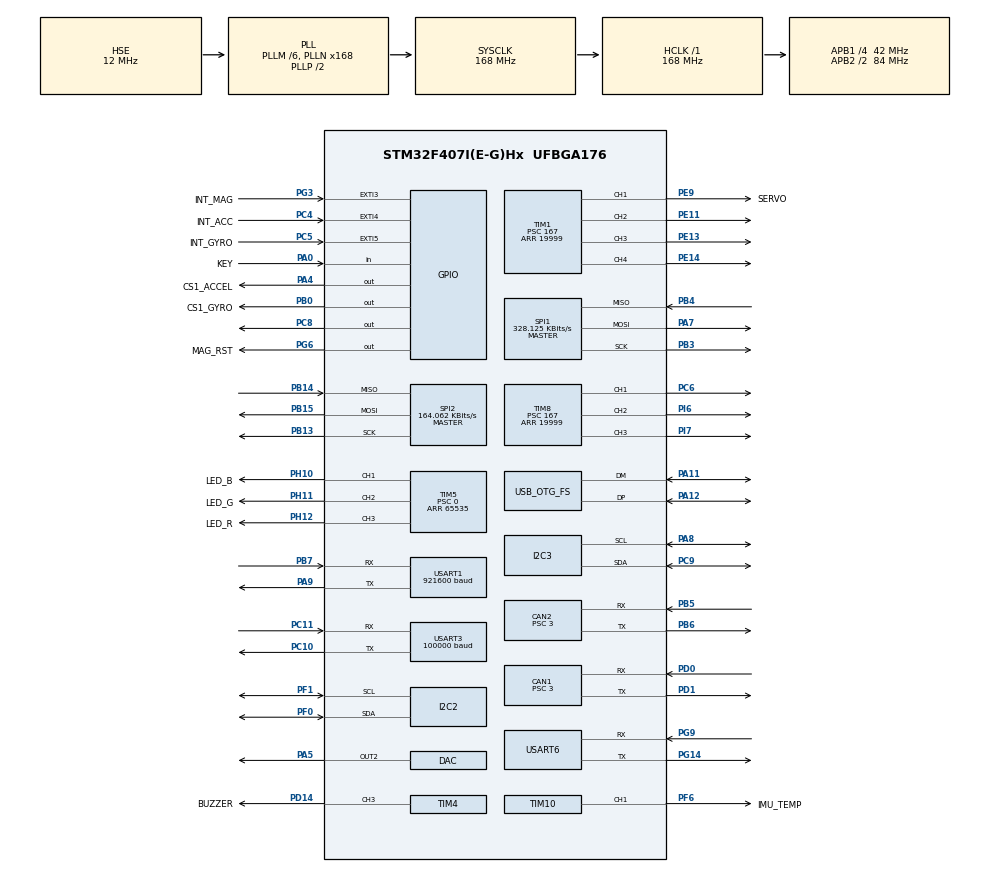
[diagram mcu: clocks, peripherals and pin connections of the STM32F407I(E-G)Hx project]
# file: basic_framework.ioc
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ADC1.Channel-0\#ChannelRegularConversion=ADC_CHANNEL_TEMPSENSOR
ADC1.ClockPrescaler=ADC_CLOCK_SYNC_PCLK_DIV6
ADC1.NbrOfConversionFlag=1
ADC1.Rank-0\#ChannelRegularConversion=1
ADC1.SamplingTime-0\#ChannelRegularConversion=ADC_SAMPLETIME_3CYCLES
ADC1.master=1
CAN1.BS1=CAN_BS1_10TQ
CAN1.BS2=CAN_BS2_3TQ
CAN1.CalculateBaudRate=1000000
CAN1.CalculateTimeQuantum=71.42857142857143
CAN1.NART=ENABLE
CAN1.Prescaler=3
CAN1.TXFP=ENABLE
CAN2.BS1=CAN_BS1_10TQ
CAN2.BS2=CAN_BS2_3TQ
CAN2.CalculateBaudRate=1000000
CAN2.CalculateTimeQuantum=71.42857142857143
CAN2.NART=ENABLE
CAN2.Prescaler=3
CAN2.TXFP=ENABLE
Dma.ADC1.8.Direction=DMA_PERIPH_TO_MEMORY
Dma.ADC1.8.FIFOMode=DMA_FIFOMODE_DISABLE
Dma.ADC1.8.Instance=DMA2_Stream4
Dma.ADC1.8.MemDataAlignment=DMA_MDATAALIGN_HALFWORD
Dma.ADC1.8.MemInc=DMA_MINC_ENABLE
Dma.ADC1.8.Mode=DMA_NORMAL
Dma.ADC1.8.PeriphDataAlignment=DMA_PDATAALIGN_HALFWORD
Dma.ADC1.8.PeriphInc=DMA_PINC_DISABLE
Dma.ADC1.8.Priority=DMA_PRIORITY_LOW
Dma.I2C2_RX.9.Direction=DMA_PERIPH_TO_MEMORY
Dma.I2C2_RX.9.FIFOMode=DMA_FIFOMODE_DISABLE
Dma.I2C2_RX.9.Instance=DMA1_Stream2
Dma.I2C2_RX.9.MemDataAlignment=DMA_MDATAALIGN_BYTE
Dma.I2C2_RX.9.MemInc=DMA_MINC_ENABLE
Dma.I2C2_RX.9.Mode=DMA_NORMAL
Dma.I2C2_RX.9.PeriphDataAlignment=DMA_PDATAALIGN_BYTE
Dma.I2C2_RX.9.PeriphInc=DMA_PINC_DISABLE
Dma.I2C2_RX.9.Priority=DMA_PRIORITY_LOW
Dma.I2C2_TX.10.Direction=DMA_MEMORY_TO_PERIPH
Dma.I2C2_TX.10.FIFOMode=DMA_FIFOMODE_DISABLE
Dma.I2C2_TX.10.Instance=DMA1_Stream7
Dma.I2C2_TX.10.MemDataAlignment=DMA_MDATAALIGN_BYTE
Dma.I2C2_TX.10.MemInc=DMA_MINC_ENABLE
Dma.I2C2_TX.10.Mode=DMA_NORMAL
Dma.I2C2_TX.10.PeriphDataAlignment=DMA_PDATAALIGN_BYTE
Dma.I2C2_TX.10.PeriphInc=DMA_PINC_DISABLE
Dma.I2C2_TX.10.Priority=DMA_PRIORITY_LOW
Dma.Request0=USART6_RX
Dma.Request1=USART6_TX
Dma.Request10=I2C2_TX
Dma.Request11=SPI1_TX
Dma.Request2=USART1_TX
Dma.Request3=USART1_RX
Dma.Request4=SPI1_RX
Dma.Request5=SPI2_RX
Dma.Request6=SPI2_TX
Dma.Request7=USART3_RX
Dma.Request8=ADC1
Dma.Request9=I2C2_RX
Dma.SPI1_RX.4.Direction=DMA_PERIPH_TO_MEMORY
Dma.SPI1_RX.4.FIFOMode=DMA_FIFOMODE_ENABLE
Dma.SPI1_RX.4.FIFOThreshold=DMA_FIFO_THRESHOLD_FULL
Dma.SPI1_RX.4.Instance=DMA2_Stream0
Dma.SPI1_RX.4.MemBurst=DMA_MBURST_SINGLE
Dma.SPI1_RX.4.MemDataAlignment=DMA_MDATAALIGN_BYTE
Dma.SPI1_RX.4.MemInc=DMA_MINC_ENABLE
Dma.SPI1_RX.4.Mode=DMA_NORMAL
Dma.SPI1_RX.4.PeriphBurst=DMA_PBURST_SINGLE
Dma.SPI1_RX.4.PeriphDataAlignment=DMA_PDATAALIGN_BYTE
Dma.SPI1_RX.4.PeriphInc=DMA_PINC_DISABLE
Dma.SPI1_RX.4.Priority=DMA_PRIORITY_LOW
Dma.SPI1_TX.11.Direction=DMA_MEMORY_TO_PERIPH
Dma.SPI1_TX.11.FIFOMode=DMA_FIFOMODE_DISABLE
Dma.SPI1_TX.11.Instance=DMA2_Stream3
Dma.SPI1_TX.11.MemDataAlignment=DMA_MDATAALIGN_BYTE
Dma.SPI1_TX.11.MemInc=DMA_MINC_ENABLE
Dma.SPI1_TX.11.Mode=DMA_NORMAL
Dma.SPI1_TX.11.PeriphDataAlignment=DMA_PDATAALIGN_BYTE
Dma.SPI1_TX.11.PeriphInc=DMA_PINC_DISABLE
Dma.SPI1_TX.11.Priority=DMA_PRIORITY_LOW
Dma.SPI2_RX.5.Direction=DMA_PERIPH_TO_MEMORY
Dma.SPI2_RX.5.FIFOMode=DMA_FIFOMODE_ENABLE
Dma.SPI2_RX.5.FIFOThreshold=DMA_FIFO_THRESHOLD_FULL
Dma.SPI2_RX.5.Instance=DMA1_Stream3
Dma.SPI2_RX.5.MemBurst=DMA_MBURST_SINGLE
Dma.SPI2_RX.5.MemDataAlignment=DMA_MDATAALIGN_BYTE
Dma.SPI2_RX.5.MemInc=DMA_MINC_ENABLE
Dma.SPI2_RX.5.Mode=DMA_NORMAL
Dma.SPI2_RX.5.PeriphBurst=DMA_PBURST_SINGLE
Dma.SPI2_RX.5.PeriphDataAlignment=DMA_PDATAALIGN_BYTE
Dma.SPI2_RX.5.PeriphInc=DMA_PINC_DISABLE
Dma.SPI2_RX.5.Priority=DMA_PRIORITY_LOW
Dma.SPI2_TX.6.Direction=DMA_MEMORY_TO_PERIPH
Dma.SPI2_TX.6.FIFOMode=DMA_FIFOMODE_ENABLE
Dma.SPI2_TX.6.FIFOThreshold=DMA_FIFO_THRESHOLD_FULL
Dma.SPI2_TX.6.Instance=DMA1_Stream4
Dma.SPI2_TX.6.MemBurst=DMA_MBURST_SINGLE
Dma.SPI2_TX.6.MemDataAlignment=DMA_MDATAALIGN_BYTE
Dma.SPI2_TX.6.MemInc=DMA_MINC_ENABLE
Dma.SPI2_TX.6.Mode=DMA_NORMAL
Dma.SPI2_TX.6.PeriphBurst=DMA_PBURST_SINGLE
Dma.SPI2_TX.6.PeriphDataAlignment=DMA_PDATAALIGN_BYTE
Dma.SPI2_TX.6.PeriphInc=DMA_PINC_DISABLE
Dma.SPI2_TX.6.Priority=DMA_PRIORITY_LOW
Dma.USART1_RX.3.Direction=DMA_PERIPH_TO_MEMORY
Dma.USART1_RX.3.FIFOMode=DMA_FIFOMODE_DISABLE
Dma.USART1_RX.3.Instance=DMA2_Stream5
Dma.USART1_RX.3.MemDataAlignment=DMA_MDATAALIGN_BYTE
Dma.USART1_RX.3.MemInc=DMA_MINC_ENABLE
Dma.USART1_RX.3.Mode=DMA_NORMAL
Dma.USART1_RX.3.PeriphDataAlignment=DMA_PDATAALIGN_BYTE
Dma.USART1_RX.3.PeriphInc=DMA_PINC_DISABLE
Dma.USART1_RX.3.Priority=DMA_PRIORITY_VERY_HIGH
Dma.USART1_TX.2.Direction=DMA_MEMORY_TO_PERIPH
Dma.USART1_TX.2.FIFOMode=DMA_FIFOMODE_DISABLE
Dma.USART1_TX.2.Instance=DMA2_Stream7
Dma.USART1_TX.2.MemDataAlignment=DMA_MDATAALIGN_BYTE
Dma.USART1_TX.2.MemInc=DMA_MINC_ENABLE
Dma.USART1_TX.2.Mode=DMA_NORMAL
Dma.USART1_TX.2.PeriphDataAlignment=DMA_PDATAALIGN_BYTE
Dma.USART1_TX.2.PeriphInc=DMA_PINC_DISABLE
Dma.USART1_TX.2.Priority=DMA_PRIORITY_VERY_HIGH
Dma.USART3_RX.7.Direction=DMA_PERIPH_TO_MEMORY
Dma.USART3_RX.7.FIFOMode=DMA_FIFOMODE_DISABLE
Dma.USART3_RX.7.Instance=DMA1_Stream1
Dma.USART3_RX.7.MemDataAlignment=DMA_MDATAALIGN_BYTE
Dma.USART3_RX.7.MemInc=DMA_MINC_ENABLE
Dma.USART3_RX.7.Mode=DMA_NORMAL
Dma.USART3_RX.7.PeriphDataAlignment=DMA_PDATAALIGN_BYTE
Dma.USART3_RX.7.PeriphInc=DMA_PINC_DISABLE
Dma.USART3_RX.7.Priority=DMA_PRIORITY_LOW
Dma.USART6_RX.0.Direction=DMA_PERIPH_TO_MEMORY
Dma.USART6_RX.0.FIFOMode=DMA_FIFOMODE_ENABLE
Dma.USART6_RX.0.FIFOThreshold=DMA_FIFO_THRESHOLD_FULL
Dma.USART6_RX.0.Instance=DMA2_Stream2
Dma.USART6_RX.0.MemBurst=DMA_MBURST_SINGLE
Dma.USART6_RX.0.MemDataAlignment=DMA_MDATAALIGN_BYTE
Dma.USART6_RX.0.MemInc=DMA_MINC_ENABLE
Dma.USART6_RX.0.Mode=DMA_NORMAL
Dma.USART6_RX.0.PeriphBurst=DMA_PBURST_SINGLE
Dma.USART6_RX.0.PeriphDataAlignment=DMA_PDATAALIGN_BYTE
Dma.USART6_RX.0.PeriphInc=DMA_PINC_DISABLE
Dma.USART6_RX.0.Priority=DMA_PRIORITY_HIGH
Dma.USART6_TX.1.Direction=DMA_MEMORY_TO_PERIPH
Dma.USART6_TX.1.FIFOMode=DMA_FIFOMODE_ENABLE
Dma.USART6_TX.1.FIFOThreshold=DMA_FIFO_THRESHOLD_FULL
Dma.USART6_TX.1.Instance=DMA2_Stream6
Dma.USART6_TX.1.MemBurst=DMA_MBURST_SINGLE
Dma.USART6_TX.1.MemDataAlignment=DMA_MDATAALIGN_BYTE
Dma.USART6_TX.1.MemInc=DMA_MINC_ENABLE
Dma.USART6_TX.1.Mode=DMA_NORMAL
Dma.USART6_TX.1.PeriphBurst=DMA_PBURST_SINGLE
Dma.USART6_TX.1.PeriphDataAlignment=DMA_PDATAALIGN_BYTE
Dma.USART6_TX.1.PeriphInc=DMA_PINC_DISABLE
Dma.USART6_TX.1.Priority=DMA_PRIORITY_HIGH
FREERTOS.INCLUDE_vTaskDelayUntil=1
FREERTOS.Tasks01=defaultTask,0,128,StartDefaultTask,Default,NULL,Dynamic,NULL,NULL
FREERTOS.configENABLE_FPU=1
FREERTOS.configMAX_TASK_NAME_LEN=32
FREERTOS.configUSE_POSIX_ERRNO=0
FREERTOS.configUSE_TIMERS=0
I2C2.I2C_Mode=I2C_Fast
I2C3.I2C_Mode=I2C_Fast
Mcu.Family=STM32F4
Mcu.Name=STM32F407I(E-G)Hx
Mcu.Package=UFBGA176
NVIC.CAN1_RX0_IRQn=true\:5\:0\:true\:false\:true\:true\:true\:true\:true
NVIC.CAN1_RX1_IRQn=true\:5\:0\:false\:false\:true\:true\:true\:true\:true
NVIC.CAN2_RX0_IRQn=true\:5\:0\:true\:false\:true\:true\:true\:true\:true
NVIC.CAN2_RX1_IRQn=true\:5\:0\:false\:false\:true\:true\:true\:true\:true
NVIC.DMA1_Stream1_IRQn=true\:5\:0\:false\:false\:true\:true\:false\:true\:true
NVIC.DMA1_Stream2_IRQn=true\:5\:0\:false\:false\:true\:true\:false\:true\:true
NVIC.DMA1_Stream3_IRQn=true\:5\:0\:false\:false\:true\:true\:false\:true\:true
NVIC.DMA1_Stream4_IRQn=true\:5\:0\:false\:false\:true\:true\:false\:true\:true
NVIC.DMA1_Stream7_IRQn=true\:5\:0\:false\:false\:true\:true\:false\:true\:true
NVIC.DMA2_Stream0_IRQn=true\:5\:0\:false\:false\:true\:true\:false\:true\:true
NVIC.DMA2_Stream2_IRQn=true\:5\:0\:false\:false\:true\:true\:false\:true\:true
NVIC.DMA2_Stream3_IRQn=true\:5\:0\:false\:false\:true\:true\:false\:true\:true
NVIC.DMA2_Stream4_IRQn=true\:5\:0\:false\:false\:true\:true\:false\:true\:true
NVIC.DMA2_Stream5_IRQn=true\:5\:0\:false\:false\:true\:true\:false\:true\:true
NVIC.DMA2_Stream6_IRQn=true\:5\:0\:true\:false\:true\:true\:false\:true\:true
NVIC.DMA2_Stream7_IRQn=true\:5\:0\:true\:false\:true\:true\:false\:true\:true
NVIC.EXTI3_IRQn=true\:5\:0\:true\:false\:true\:true\:true\:true\:true
NVIC.EXTI4_IRQn=true\:5\:0\:false\:false\:true\:true\:true\:true\:true
NVIC.EXTI9_5_IRQn=true\:5\:0\:false\:false\:true\:true\:true\:true\:true
NVIC.I2C2_ER_IRQn=true\:5\:0\:false\:false\:true\:true\:true\:true\:true
NVIC.I2C2_EV_IRQn=true\:5\:0\:false\:false\:true\:true\:true\:true\:true
NVIC.I2C3_ER_IRQn=true\:5\:0\:false\:false\:true\:true\:true\:true\:true
NVIC.I2C3_EV_IRQn=true\:5\:0\:false\:false\:true\:true\:true\:true\:true
NVIC.OTG_FS_IRQn=true\:5\:0\:false\:false\:true\:true\:false\:true\:true
NVIC.PriorityGroup=NVIC_PRIORITYGROUP_4
NVIC.SPI1_IRQn=true\:5\:0\:false\:false\:true\:true\:true\:true\:true
NVIC.SPI2_IRQn=true\:5\:0\:false\:false\:true\:true\:true\:true\:true
NVIC.TIM8_TRG_COM_TIM14_IRQn=true\:15\:0\:false\:false\:true\:false\:false\:true\:true
NVIC.TimeBase=TIM8_TRG_COM_TIM14_IRQn
NVIC.TimeBaseIP=TIM14
NVIC.USART1_IRQn=true\:5\:0\:false\:false\:true\:true\:true\:true\:true
NVIC.USART3_IRQn=true\:5\:0\:false\:false\:true\:true\:true\:true\:true
NVIC.USART6_IRQn=true\:5\:0\:false\:false\:true\:true\:true\:true\:true
PA0-WKUP.GPIO_Label=KEY
PA0-WKUP.GPIO_PuPd=GPIO_PULLUP
PA0-WKUP.Signal=GPIO_Input
PA10.Signal=USB_OTG_FS_ID
PA11.Mode=Device_Only
PA11.Signal=USB_OTG_FS_DM
PA12.Mode=Device_Only
PA12.Signal=USB_OTG_FS_DP
PA13.Mode=Serial_Wire
PA13.Signal=SYS_JTMS-SWDIO
PA14.Mode=Serial_Wire
PA14.Signal=SYS_JTCK-SWCLK
PA4.GPIO_Label=CS1_ACCEL
PA4.GPIO_PuPd=GPIO_PULLUP
PA4.GPIO_Speed=GPIO_SPEED_FREQ_HIGH
PA4.PinState=GPIO_PIN_SET
PA4.Signal=GPIO_Output
PA5.Signal=COMP_DAC2_group
PA7.GPIO_PuPd=GPIO_PULLUP
PA7.Mode=Full_Duplex_Master
PA7.Signal=SPI1_MOSI
PA8.Mode=I2C
PA8.Signal=I2C3_SCL
PA9.Mode=Asynchronous
PA9.Signal=USART1_TX
PB0.GPIO_Label=CS1_GYRO
PB0.GPIO_PuPd=GPIO_PULLUP
PB0.GPIO_Speed=GPIO_SPEED_FREQ_HIGH
PB0.PinState=GPIO_PIN_SET
PB0.Signal=GPIO_Output
PB13.Mode=Full_Duplex_Master
PB13.Signal=SPI2_SCK
PB14.Mode=Full_Duplex_Master
PB14.Signal=SPI2_MISO
PB15.Mode=Full_Duplex_Master
PB15.Signal=SPI2_MOSI
PB3.GPIO_PuPd=GPIO_PULLUP
PB3.Mode=Full_Duplex_Master
PB3.Signal=SPI1_SCK
PB4.GPIO_PuPd=GPIO_PULLUP
PB4.Mode=Full_Duplex_Master
PB4.Signal=SPI1_MISO
PB5.Mode=CAN_Activate
PB5.Signal=CAN2_RX
PB6.Mode=CAN_Activate
PB6.Signal=CAN2_TX
PB7.Mode=Asynchronous
PB7.Signal=USART1_RX
PC10.Mode=Asynchronous
PC10.Signal=USART3_TX
PC11.Mode=Asynchronous
PC11.Signal=USART3_RX
PC4.GPIO_Label=INT_ACC
PC4.GPIO_ModeDefaultEXTI=GPIO_MODE_IT_FALLING
PC4.Signal=GPXTI4
PC5.GPIO_Label=INT_GYRO
PC5.GPIO_ModeDefaultEXTI=GPIO_MODE_IT_FALLING
PC5.Signal=GPXTI5
PC6.Signal=S_TIM8_CH1
PC8.Signal=GPIO_Output
PC9.Mode=I2C
PC9.Signal=I2C3_SDA
PD0.Mode=CAN_Activate
PD0.Signal=CAN1_RX
PD1.Mode=CAN_Activate
PD1.Signal=CAN1_TX
PD14.GPIO_Label=BUZZER
PD14.GPIO_PuPd=GPIO_PULLUP
PD14.GPIO_Speed=GPIO_SPEED_FREQ_VERY_HIGH
PD14.Signal=S_TIM4_CH3
PE11.Signal=S_TIM1_CH2
PE13.Signal=S_TIM1_CH3
PE14.Signal=S_TIM1_CH4
PE9.GPIO_Label=SERVO
PE9.Signal=S_TIM1_CH1
PF0.Mode=I2C
PF0.Signal=I2C2_SDA
PF1.Mode=I2C
PF1.Signal=I2C2_SCL
PF6.GPIO_Label=IMU_TEMP
PF6.GPIO_PuPd=GPIO_PULLUP
PF6.GPIO_Speed=GPIO_SPEED_FREQ_HIGH
PF6.Signal=S_TIM10_CH1
PG14.Mode=Asynchronous
PG14.Signal=USART6_TX
PG3.GPIO_Label=INT_MAG
PG3.GPIO_ModeDefaultEXTI=GPIO_MODE_IT_FALLING
PG3.GPIO_PuPd=GPIO_PULLUP
PG3.Signal=GPXTI3
PG6.GPIO_Label=MAG_RST
PG6.Signal=GPIO_Output
PG9.Mode=Asynchronous
PG9.Signal=USART6_RX
PH0-OSC_IN.Mode=HSE-External-Oscillator
PH0-OSC_IN.Signal=RCC_OSC_IN
PH1-OSC_OUT.Mode=HSE-External-Oscillator
PH1-OSC_OUT.Signal=RCC_OSC_OUT
PH10.GPIO_Label=LED_B
PH10.GPIO_PuPd=GPIO_PULLUP
PH10.GPIO_Speed=GPIO_SPEED_FREQ_HIGH
PH10.Signal=S_TIM5_CH1
PH11.GPIO_Label=LED_G
PH11.GPIO_PuPd=GPIO_PULLUP
PH11.GPIO_Speed=GPIO_SPEED_FREQ_HIGH
PH11.Signal=S_TIM5_CH2
PH12.GPIO_Label=LED_R
PH12.GPIO_PuPd=GPIO_PULLUP
PH12.GPIO_Speed=GPIO_SPEED_FREQ_HIGH
PH12.Signal=S_TIM5_CH3
PI6.Signal=S_TIM8_CH2
PI7.Signal=S_TIM8_CH3
ProjectManager.HeapSize=0x4000
ProjectManager.StackSize=0x4000
ProjectManager.TargetToolchain=Makefile
RCC.48MHZClocksFreq_Value=48000000
RCC.AHBFreq_Value=168000000
RCC.APB1CLKDivider=RCC_HCLK_DIV4
RCC.APB1Freq_Value=42000000
RCC.APB1TimFreq_Value=84000000
RCC.APB2CLKDivider=RCC_HCLK_DIV2
RCC.APB2Freq_Value=84000000
RCC.APB2TimFreq_Value=168000000
RCC.CortexFreq_Value=168000000
RCC.HCLKFreq_Value=168000000
RCC.HSE_VALUE=12000000
RCC.HSI_VALUE=16000000
RCC.LSE_VALUE=32768
RCC.PLLM=6
RCC.PLLN=168
RCC.PLLQ=7
RCC.RCC_RTC_Clock_SourceVirtual=RCC_RTCCLKSOURCE_HSE_DIV30
RCC.RCC_RTC_Clock_Source_FROM_HSE=RCC_RTCCLKSOURCE_HSE_DIV30
RCC.SYSCLKFreq_VALUE=168000000
RCC.SYSCLKSource=RCC_SYSCLKSOURCE_PLLCLK
RCC.VCOOutputFreq_Value=336000000
RTC.AsynchPrediv=124
RTC.SynchPrediv=3199
SH.COMP_DAC2_group.0=DAC_OUT2,DAC_OUT2
SH.S_TIM10_CH1.0=TIM10_CH1,PWM Generation1 CH1
SH.S_TIM1_CH1.0=TIM1_CH1,PWM Generation1 CH1
SH.S_TIM1_CH2.0=TIM1_CH2,PWM Generation2 CH2
SH.S_TIM1_CH3.0=TIM1_CH3,PWM Generation3 CH3
SH.S_TIM1_CH4.0=TIM1_CH4,PWM Generation4 CH4
SH.S_TIM4_CH3.0=TIM4_CH3,PWM Generation3 CH3
SH.S_TIM5_CH1.0=TIM5_CH1,PWM Generation1 CH1
SH.S_TIM5_CH2.0=TIM5_CH2,PWM Generation2 CH2
SH.S_TIM5_CH3.0=TIM5_CH3,PWM Generation3 CH3
SH.S_TIM8_CH1.0=TIM8_CH1,Output Compare1 CH1
SH.S_TIM8_CH2.0=TIM8_CH2,Output Compare2 CH2
SH.S_TIM8_CH3.0=TIM8_CH3,Output Compare3 CH3
SPI1.BaudRatePrescaler=SPI_BAUDRATEPRESCALER_256
SPI1.CLKPhase=SPI_PHASE_2EDGE
SPI1.CLKPolarity=SPI_POLARITY_HIGH
SPI1.CalculateBaudRate=328.125 KBits/s
SPI1.Direction=SPI_DIRECTION_2LINES
SPI1.Mode=SPI_MODE_MASTER
SPI1.VirtualType=VM_MASTER
SPI2.BaudRatePrescaler=SPI_BAUDRATEPRESCALER_256
SPI2.CLKPhase=SPI_PHASE_2EDGE
SPI2.CLKPolarity=SPI_POLARITY_HIGH
SPI2.CalculateBaudRate=164.062 KBits/s
SPI2.Direction=SPI_DIRECTION_2LINES
SPI2.Mode=SPI_MODE_MASTER
SPI2.VirtualType=VM_MASTER
STMicroelectronics.X-CUBE-ALGOBUILD.1.3.0.LibraryCcDSPOoLibraryJjDSPOoLibrary=true
TIM1.Channel-PWM\ Generation1\ CH1=TIM_CHANNEL_1
TIM1.Channel-PWM\ Generation2\ CH2=TIM_CHANNEL_2
TIM1.Channel-PWM\ Generation3\ CH3=TIM_CHANNEL_3
TIM1.Channel-PWM\ Generation4\ CH4=TIM_CHANNEL_4
TIM1.Period=19999
TIM1.Prescaler=167
TIM10.Channel=TIM_CHANNEL_1
TIM10.Period=5000-1
TIM10.Prescaler=167
TIM4.Channel-PWM\ Generation3\ CH3=TIM_CHANNEL_3
TIM4.Period=65535
TIM4.Prescaler=167
TIM5.Channel-PWM\ Generation1\ CH1=TIM_CHANNEL_1
TIM5.Channel-PWM\ Generation2\ CH2=TIM_CHANNEL_2
TIM5.Channel-PWM\ Generation3\ CH3=TIM_CHANNEL_3
TIM5.Period=65535
TIM5.Prescaler=0
TIM8.Channel-Output\ Compare1\ CH1=TIM_CHANNEL_1
TIM8.Channel-Output\ Compare2\ CH2=TIM_CHANNEL_2
TIM8.Channel-Output\ Compare3\ CH3=TIM_CHANNEL_3
TIM8.Period=19999
TIM8.Prescaler=167
USART1.BaudRate=921600
USART1.VirtualMode=VM_ASYNC
USART3.BaudRate=100000
USART3.Parity=PARITY_EVEN
USART3.VirtualMode=VM_ASYNC
USART3.WordLength=WORDLENGTH_9B
USART6.VirtualMode=VM_ASYNC
USB_DEVICE.CLASS_NAME_FS=CDC
USB_DEVICE.MANUFACTURER_STRING-CDC_FS=YueLuEmbedded
USB_DEVICE.PID_CDC_FS=202
USB_DEVICE.PRODUCT_STRING_CDC_FS=Vision Comm port
USB_DEVICE.VirtualMode-CDC_FS=Cdc
USB_DEVICE.VirtualModeFS=Cdc_FS
USB_OTG_FS.VirtualMode=Device_Only
VP_ADC1_TempSens_Input.Mode=IN-TempSens
VP_ADC1_Vref_Input.Mode=IN-Vrefint
VP_CRC_VS_CRC.Mode=CRC_Activate
VP_FREERTOS_VS_CMSIS_V1.Mode=CMSIS_V1
VP_RNG_VS_RNG.Mode=RNG_Activate
VP_RTC_VS_RTC_Activate.Mode=RTC_Enabled
VP_STMicroelectronics.X-CUBE-ALGOBUILD_VS_DSPOoLibraryJjLibrary_1.3.0_1.3.0.Mode=DSPOoLibraryJjLibrary
VP_SYS_VS_tim14.Mode=TIM14
VP_TIM10_VS_ClockSourceINT.Mode=Enable_Timer
VP_TIM1_VS_ClockSourceINT.Mode=Internal
VP_TIM4_VS_ClockSourceINT.Mode=Internal
VP_TIM5_VS_ClockSourceINT.Mode=Internal
VP_TIM8_VS_ClockSourceINT.Mode=Internal
VP_USB_DEVICE_VS_USB_DEVICE_CDC_FS.Mode=CDC_FS
board=custom

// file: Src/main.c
/* USER CODE BEGIN Header */
/**
  ******************************************************************************
  * @file           : main.c
  * @brief          : Main program body
  ******************************************************************************
  * @attention
  *
  * Copyright (c) 2023 STMicroelectronics.
  * All rights reserved.
  *
  * This software is licensed under terms that can be found in the LICENSE file
  * in the root directory of this software component.
  * If no LICENSE file comes with this software, it is provided AS-IS.
  *
  ******************************************************************************
  */
/* USER CODE END Header */
#include "main.h"
#include "cmsis_os.h"
#include "adc.h"
#include "can.h"
#include "crc.h"
#include "dac.h"
#include "dma.h"
#include "i2c.h"
#include "rng.h"
#include "rtc.h"
#include "spi.h"
#include "tim.h"
#include "usart.h"
#include "usb_device.h"
#include "gpio.h"

/* USER CODE BEGIN Includes */
#include "robot.h"
/* USER CODE END Includes */

void SystemClock_Config(void);
void MX_FREERTOS_Init(void);

int main(void)
{

  /* MCU Configuration--------------------------------------------------------*/

  /* Reset of all peripherals, Initializes the Flash interface and the Systick. */
  HAL_Init();

  /* Configure the system clock */
  SystemClock_Config();

  /* Initialize all configured peripherals */
  MX_GPIO_Init();
  MX_DMA_Init();
  MX_ADC1_Init();
  MX_CAN1_Init();
  MX_CAN2_Init();
  MX_SPI1_Init();
  MX_TIM4_Init();
  MX_TIM5_Init();
  MX_USART3_UART_Init();
  MX_RNG_Init();
  MX_RTC_Init();
  MX_TIM1_Init();
  MX_TIM10_Init();
  MX_USART1_UART_Init();
  MX_USART6_UART_Init();
  MX_TIM8_Init();
  MX_I2C2_Init();
  MX_I2C3_Init();
  MX_SPI2_Init();
  MX_CRC_Init();
  MX_DAC_Init();
  /* USER CODE BEGIN 2 */
	RobotInit();
  /* USER CODE END 2 */

  /* Call init function for freertos objects (in cmsis_os2.c) */
  MX_FREERTOS_Init();

  /* Start scheduler */
  osKernelStart();

  /* We should never get here as control is now taken by the scheduler */

  /* Infinite loop */
  while (1)
  {

  }
}

void SystemClock_Config(void)
{
  RCC_OscInitTypeDef RCC_OscInitStruct = {0};
  RCC_ClkInitTypeDef RCC_ClkInitStruct = {0};

  /** Configure the main internal regulator output voltage
  */
  __HAL_RCC_PWR_CLK_ENABLE();
  __HAL_PWR_VOLTAGESCALING_CONFIG(PWR_REGULATOR_VOLTAGE_SCALE1);

  /** Initializes the RCC Oscillators according to the specified parameters
  * in the RCC_OscInitTypeDef structure.
  */
  RCC_OscInitStruct.OscillatorType = RCC_OSCILLATORTYPE_HSE;
  RCC_OscInitStruct.HSEState = RCC_HSE_ON;
  RCC_OscInitStruct.PLL.PLLState = RCC_PLL_ON;
  RCC_OscInitStruct.PLL.PLLSource = RCC_PLLSOURCE_HSE;
  RCC_OscInitStruct.PLL.PLLM = 6;
  RCC_OscInitStruct.PLL.PLLN = 168;
  RCC_OscInitStruct.PLL.PLLP = RCC_PLLP_DIV2;
  RCC_OscInitStruct.PLL.PLLQ = 7;
  if (HAL_RCC_OscConfig(&RCC_OscInitStruct) != HAL_OK)
  {
    Error_Handler();
  }

  /** Initializes the CPU, AHB and APB buses clocks
  */
  RCC_ClkInitStruct.ClockType = RCC_CLOCKTYPE_HCLK|RCC_CLOCKTYPE_SYSCLK
                              |RCC_CLOCKTYPE_PCLK1|RCC_CLOCKTYPE_PCLK2;
  RCC_ClkInitStruct.SYSCLKSource = RCC_SYSCLKSOURCE_PLLCLK;
  RCC_ClkInitStruct.AHBCLKDivider = RCC_SYSCLK_DIV1;
  RCC_ClkInitStruct.APB1CLKDivider = RCC_HCLK_DIV4;
  RCC_ClkInitStruct.APB2CLKDivider = RCC_HCLK_DIV2;

  if (HAL_RCC_ClockConfig(&RCC_ClkInitStruct, FLASH_LATENCY_5) != HAL_OK)
  {
    Error_Handler();
  }
}

void HAL_TIM_PeriodElapsedCallback(TIM_HandleTypeDef *htim)
{
  if (htim->Instance == TIM14)
  {
    HAL_IncTick();
  }
}

void Error_Handler(void)
{
  __disable_irq();
  while (1)
  {
  }
}

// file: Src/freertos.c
/* USER CODE BEGIN Header */
/**
 ******************************************************************************
 * File Name          : freertos.c
 * Description        : Code for freertos applications
 ******************************************************************************
 * @attention
 *
 * Copyright (c) 2023 STMicroelectronics.
 * All rights reserved.
 *
 * This software is licensed under terms that can be found in the LICENSE file
 * in the root directory of this software component.
 * If no LICENSE file comes with this software, it is provided AS-IS.
 *
 ******************************************************************************
 */
/* USER CODE END Header */

#include "FreeRTOS.h"
#include "task.h"
#include "main.h"
#include "cmsis_os.h"

/* USER CODE BEGIN Includes */
#include "ins_task.h"
#include "motor_task.h"
#include "led_task.h"
#include "referee_task.h"
#include "robot_def.h"

#if defined(VISION_USE_VCP) || defined(VISION_USE_UART)
#include "master_process.h"
#elif defined(VISION_USE_SERIALPORT)
#include "serialport_protocol.h"
#endif

#include "daemon.h"
#include "robot.h"
/* USER CODE END Includes */

/* USER CODE BEGIN Variables */
osThreadId insTaskHandle;
osThreadId ledTaskHandle;
osThreadId robotTaskHandle;
osThreadId motorTaskHandle;
osThreadId daemonTaskHandle;
osThreadId uiTaskHandle;
/* USER CODE END Variables */
osThreadId defaultTaskHandle;

/* USER CODE BEGIN FunctionPrototypes */
void StartINSTASK(void const *argument);

void StartMOTORTASK(void const *argument);

void StartDAEMONTASK(void const *argument);

void StartROBOTTASK(void const *argument);

void StartUITASK(void const *argument);
/* USER CODE END FunctionPrototypes */

void StartDefaultTask(void const * argument);

extern void MX_USB_DEVICE_Init(void);
void MX_FREERTOS_Init(void); /* (MISRA C 2004 rule 8.1) */

/* GetIdleTaskMemory prototype (linked to static allocation support) */
void vApplicationGetIdleTaskMemory( StaticTask_t **ppxIdleTaskTCBBuffer, StackType_t **ppxIdleTaskStackBuffer, uint32_t *pulIdleTaskStackSize );

/* USER CODE BEGIN GET_IDLE_TASK_MEMORY */
static StaticTask_t xIdleTaskTCBBuffer;
static StackType_t xIdleStack[configMINIMAL_STACK_SIZE];

void vApplicationGetIdleTaskMemory(StaticTask_t **ppxIdleTaskTCBBuffer, StackType_t **ppxIdleTaskStackBuffer, uint32_t *pulIdleTaskStackSize)
{
  *ppxIdleTaskTCBBuffer = &xIdleTaskTCBBuffer;
  *ppxIdleTaskStackBuffer = &xIdleStack[0];
  *pulIdleTaskStackSize = configMINIMAL_STACK_SIZE;
  /* place for user code */
}
/* USER CODE END GET_IDLE_TASK_MEMORY */

void MX_FREERTOS_Init(void) {

  /* Create the thread(s) */
  /* definition and creation of defaultTask */
  osThreadDef(defaultTask, StartDefaultTask, osPriorityNormal, 0, 128);
  defaultTaskHandle = osThreadCreate(osThread(defaultTask), NULL);

  /* USER CODE BEGIN RTOS_THREADS */
  /* add threads, ... */
  osThreadDef(instask, StartINSTASK, osPriorityNormal, 0, 1024);
  insTaskHandle = osThreadCreate(osThread(instask), NULL);

  osThreadDef(motortask, StartMOTORTASK, osPriorityNormal, 0, 512);
  motorTaskHandle = osThreadCreate(osThread(motortask), NULL);

  osThreadDef(daemontask, StartDAEMONTASK, osPriorityNormal, 0, 128);
  daemonTaskHandle = osThreadCreate(osThread(daemontask), NULL);

  osThreadDef(robottask, StartROBOTTASK, osPriorityAboveNormal, 0, 1024);
  robotTaskHandle = osThreadCreate(osThread(robottask), NULL);

  osThreadDef(uitask, StartUITASK, osPriorityNormal, 0, 512);
  uiTaskHandle = osThreadCreate(osThread(uitask), NULL);

  /* USER CODE END RTOS_THREADS */

}

void StartDefaultTask(void const * argument)
{
  /* init code for USB_DEVICE */
  MX_USB_DEVICE_Init();
  /* USER CODE BEGIN StartDefaultTask */
  vTaskDelete( NULL );
  /* USER CODE END StartDefaultTask */
}

/* USER CODE BEGIN Application */
void StartINSTASK(void const *argument)
{
  while (1)
  {
    static uint8_t cnt = 0;

    // 1kHz
    INS_Task();

    if (cnt % 5   == 0)
    {
#if defined(VISION_USE_VCP) || defined(VISION_USE_UART)
      VisionSend(); // VCP/UART协议发送视觉数据
#elif defined(VISION_USE_SERIALPORT)
      // SerialPort协议在RobotCMDTask中发送,这里不需要调用
#endif
    }

    cnt++;
    osDelay(1);
  }
}

void StartMOTORTASK(void const *argument)
{
  while (1)
  {
    // 500Hz
    MotorControlTask();
    osDelay(2);
  }
}

void StartDAEMONTASK(void const *argument)
{
  while (1)
  {
    // 100Hz
    DaemonTask();
    osDelay(10);
  }
}

void StartROBOTTASK(void const *argument)
{
  while (1)
  {
    // 500Hz
    RobotTask();
    osDelay(2);
  }
}

void StartUITASK(void const *argument)
{
  My_UI_init();
  while (1)
  {
    Referee_Interactive_task();
    osDelay(30);
  }
}
/* USER CODE END Application */
